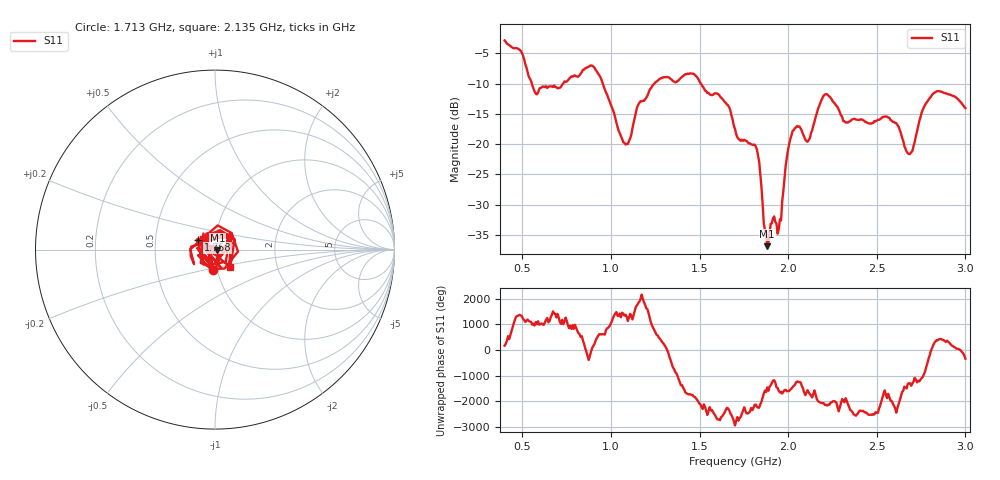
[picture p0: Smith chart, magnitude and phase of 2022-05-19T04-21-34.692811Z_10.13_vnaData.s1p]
!Created with skrf (http://scikit-rf.org).
# Hz S RI R 50.0
!freq ReS11 ImS11
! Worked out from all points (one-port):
!   401 points, 400 MHz to 3 GHz, reference 50 ohm
!   lowest |S11| = -36.9 dB at 1.882 GHz (marker M1), VSWR 1.03, Z = 51.4 - j0.509 ohm
!   |S11| at or under -10 dB: 553.6 MHz to 729.9 MHz (176.3 MHz wide, 27.5 % of centre); 954 MHz to 1.245 GHz (291.1 MHz wide, 26.5 % of centre); 1.507 GHz to end of sweep
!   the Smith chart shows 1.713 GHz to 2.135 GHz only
!   S11 on the Smith chart (normalised r, x): 1.713 GHz: 0.95, -0.22; 1.758 GHz: 0.83, +0.09; 2.135 GHz: 1.16, -0.24
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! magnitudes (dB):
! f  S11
! 400 MHz  -2.9
! 491 MHz  -4.6
! 575.5 MHz  -11.6
! 725 MHz  -10.1
! 900.5 MHz  -7.2
! 1.05 GHz  -18.2
! 1.095 GHz  -20.0
! 1.154 GHz  -13.5
! 1.258 GHz  -9.6
! 1.375 GHz  -9.6
! 1.46 GHz  -8.3
! 1.609 GHz  -11.8
! 1.7 GHz  -17.5
! 1.713 GHz  -18.9
! 1.758 GHz  -19.4
! 1.823 GHz  -20.9
! 1.882 GHz  -36.9
! 1.954 GHz  -32.4
! 1.992 GHz  -22.2
! 2.025 GHz  -17.8
! 2.11 GHz  -19.6
! 2.135 GHz  -17.7
! 2.213 GHz  -11.7
! 2.35 GHz  -16.2
! 2.558 GHz  -15.4
! 2.675 GHz  -21.5
! 2.825 GHz  -11.5
! 3 GHz  -14.0
